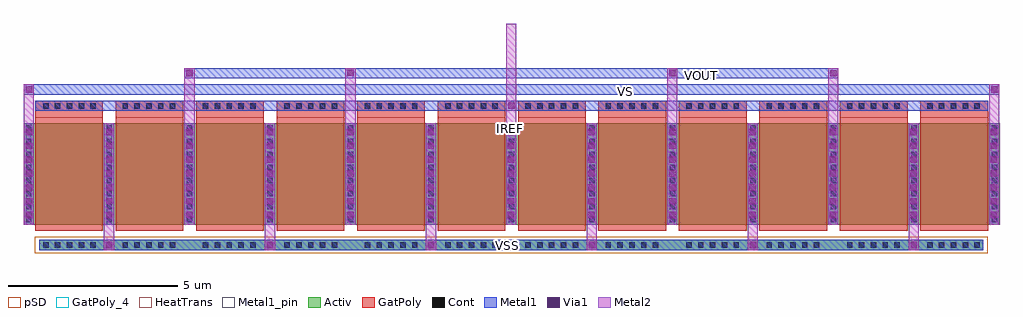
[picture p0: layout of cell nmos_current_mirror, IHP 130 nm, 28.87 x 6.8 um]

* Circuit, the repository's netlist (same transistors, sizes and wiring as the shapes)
* Extracted by KLayout with SG13G2 LVS runset on : 08/05/2024 14:23

* cell nmos_current_mirror
* pin VS
* pin VOUT
* pin IREF
* pin VSS
.SUBCKT nmos_current_mirror VS VOUT IREF VSS
* device instance $1 r0 *1 0.736,1.102 sg13_lv_nmos
M$1 VS IREF VSS VSS sg13_lv_nmos W=6.0 L=2.0
* device instance $2 r0 *1 3.116,1.102 sg13_lv_nmos
M$2 VSS IREF VOUT VSS sg13_lv_nmos W=24.0 L=2.0
* device instance $6 r0 *1 12.636,1.102 sg13_lv_nmos
M$6 VSS IREF IREF VSS sg13_lv_nmos W=6.0 L=2.0
.ENDS nmos_current_mirror

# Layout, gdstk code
from math import pi, radians
import gdstk
lib = gdstk.Library(unit=1e-6, precision=1e-09)
def R(c, l, rs):  # rectangles x0, y0, x1, y1
    for r in rs: c.add(gdstk.rectangle(r[:2], r[2:], *l))
def A(c, l, x, y, w, h, nx, ny, dx, dy):  # array of equal rectangles
    R(c, l, [(x+i*dx, y+j*dy, x+i*dx+w, y+j*dy+h) for i in range(nx) for j in range(ny)])
Activ = (1, 0)
GatPoly = (5, 0)
GatPoly_4 = (5, 4)
Cont = (6, 0)
Metal1 = (8, 0)
Metal1_pin = (8, 2)
Metal2 = (10, 0)
pSD = (14, 0)
Via1 = (19, 0)
HeatTrans = (51, 0)

via_1 = lib.new_cell('Via$1')
A(via_1, Cont, 0, 0, 0.16, 0.16, 1, 5, 0, 0.35)

via = lib.new_cell('Via')
A(via, Via1, 0, 0, 0.19, 0.19, 7, 1, 0.41, 0)

nmos_1 = lib.new_cell('nmos$1')
A(nmos_1, Activ, 0, 0, 0.3, 0.3, 13, 1, 2.38, 0)
R(nmos_1, Activ, [(0,0,28.86,3)])
A(nmos_1, GatPoly, 0.34, -0.18, 2, 3.36, 12, 1, 2.38, 0)
R(nmos_1, GatPoly_4, [(0.34,-0.18,2.34,3.18), (0.34,-0.18,2.34,3.18)])
A(nmos_1, Cont, 0.07, 0.07, 0.16, 0.16, 13, 7, 2.38, 0.385)
A(nmos_1, Cont, 0.07, 2.77, 0.16, 0.16, 13, 1, 2.38, 0)
A(nmos_1, Metal1, 0.07, 0, 0.16, 3, 13, 1, 2.38, 0)
R(nmos_1, Metal1_pin, [(0.07,0,0.23,3), (0.07,0,0.23,3), (2.45,0,2.61,3), (2.45,0,2.61,3)])
A(nmos_1, HeatTrans, 0.34, -0.18, 2, 3.36, 12, 1, 2.38, 0)
nmos_1.add(gdstk.Label('nmos', (1.34,1.5), layer=51, texttype=0))
nmos_1.add(gdstk.Label('nmos', (3.72,1.5), layer=51, texttype=0))
nmos_1.add(gdstk.Label('nmos', (6.1,1.5), layer=51, texttype=0))
nmos_1.add(gdstk.Label('nmos', (8.48,1.5), layer=51, texttype=0))
nmos_1.add(gdstk.Label('nmos', (10.86,1.5), layer=51, texttype=0))
nmos_1.add(gdstk.Label('nmos', (13.24,1.5), layer=51, texttype=0))
nmos_1.add(gdstk.Label('nmos', (15.62,1.5), layer=51, texttype=0))
nmos_1.add(gdstk.Label('nmos', (18,1.5), layer=51, texttype=0))
nmos_1.add(gdstk.Label('nmos', (20.38,1.5), layer=51, texttype=0))
nmos_1.add(gdstk.Label('nmos', (22.76,1.5), layer=51, texttype=0))
nmos_1.add(gdstk.Label('nmos', (25.14,1.5), layer=51, texttype=0))
nmos_1.add(gdstk.Label('nmos', (27.52,1.5), layer=51, texttype=0))

nmos_current_mirror = lib.new_cell('nmos_current_mirror')
R(nmos_current_mirror, Activ, [(-0.135,-1.155,27.785,-0.855)])
A(nmos_current_mirror, GatPoly, -0.26, 2.78, 2, 0.48, 12, 1, 2.38, 0)
A(nmos_current_mirror, Metal1, -0.605, -0.4, 0.3, 3, 13, 1, 2.38, 0)
R(nmos_current_mirror, Metal1, [(-0.135,-1.155,27.785,-0.855), (-0.26,2.96,27.92,3.26), (-0.6,3.445,28.255,3.745), (4.155,3.93,23.495,4.23)])
A(nmos_current_mirror, Metal2, 1.775, -1.155, 0.3, 3.755, 6, 1, 4.76, 0)
R(nmos_current_mirror, Metal2, [(-0.6,-0.4,-0.3,3.745), (4.155,-0.4,4.455,4.23), (8.915,-0.4,9.215,4.23), (13.675,-0.4,13.975,5.545), (18.435,-0.4,18.735,4.23), (23.195,-0.4,23.495,4.23), (27.955,-0.4,28.255,3.745)])
R(nmos_current_mirror, pSD, [(-0.265,-1.255,27.915,-0.76)])
R(nmos_current_mirror, Via1, [(1.825,-1.105,2.015,-0.915), (6.585,-1.105,6.775,-0.915), (11.355,-1.105,11.545,-0.915), (20.87,-1.105,21.06,-0.915), (25.63,-1.105,25.82,-0.915), (25.63,-1.105,25.82,-0.915), (16.11,-1.1,16.3,-0.91), (13.73,3.03,13.92,3.22), (-0.54,3.495,-0.35,3.685), (28.015,3.505,28.205,3.695), (23.255,3.98,23.445,4.17), (4.215,3.985,4.405,4.175), (18.5,3.99,18.69,4.18), (8.97,3.995,9.16,4.185)])
nmos_current_mirror.add(gdstk.Reference(via_1, (-0.025,3.185), rotation=3*pi/2))
nmos_current_mirror.add(gdstk.Reference(via_1, (2.325,3.185), rotation=3*pi/2))
nmos_current_mirror.add(gdstk.Reference(via_1, (4.7,3.185), rotation=3*pi/2))
nmos_current_mirror.add(gdstk.Reference(via_1, (7.11,3.185), rotation=3*pi/2))
nmos_current_mirror.add(gdstk.Reference(via_1, (9.485,3.185), rotation=3*pi/2))
nmos_current_mirror.add(gdstk.Reference(via_1, (11.865,3.185), rotation=3*pi/2))
nmos_current_mirror.add(gdstk.Reference(via_1, (14.235,3.185), rotation=3*pi/2))
nmos_current_mirror.add(gdstk.Reference(via_1, (18.995,3.185), rotation=3*pi/2))
nmos_current_mirror.add(gdstk.Reference(via_1, (21.37,3.185), rotation=3*pi/2))
nmos_current_mirror.add(gdstk.Reference(via_1, (23.75,3.185), rotation=3*pi/2))
nmos_current_mirror.add(gdstk.Reference(via_1, (26.12,3.185), rotation=3*pi/2))
nmos_current_mirror.add(gdstk.Reference(via_1, (-0.025,-0.925), rotation=3*pi/2))
nmos_current_mirror.add(gdstk.Reference(via_1, (2.325,-0.925), rotation=3*pi/2))
nmos_current_mirror.add(gdstk.Reference(via_1, (4.7,-0.925), rotation=3*pi/2))
nmos_current_mirror.add(gdstk.Reference(via_1, (7.11,-0.925), rotation=3*pi/2))
nmos_current_mirror.add(gdstk.Reference(via_1, (9.485,-0.925), rotation=3*pi/2))
nmos_current_mirror.add(gdstk.Reference(via_1, (11.865,-0.925), rotation=3*pi/2))
nmos_current_mirror.add(gdstk.Reference(via_1, (14.235,-0.925), rotation=3*pi/2))
nmos_current_mirror.add(gdstk.Reference(via_1, (18.995,-0.925), rotation=3*pi/2))
nmos_current_mirror.add(gdstk.Reference(via_1, (21.37,-0.925), rotation=3*pi/2))
nmos_current_mirror.add(gdstk.Reference(via_1, (23.75,-0.925), rotation=3*pi/2))
nmos_current_mirror.add(gdstk.Reference(via_1, (26.12,-0.925), rotation=3*pi/2))
nmos_current_mirror.add(gdstk.Reference(via_1, (16.61,3.185), rotation=3*pi/2))
nmos_current_mirror.add(gdstk.Reference(via_1, (16.61,-0.925), rotation=3*pi/2))
nmos_current_mirror.add(gdstk.Reference(via, (1.835,2.435), rotation=3*pi/2))
nmos_current_mirror.add(gdstk.Reference(via, (4.21,2.435), rotation=3*pi/2))
nmos_current_mirror.add(gdstk.Reference(via, (6.585,2.435), rotation=3*pi/2))
nmos_current_mirror.add(gdstk.Reference(via, (8.97,2.435), rotation=3*pi/2))
nmos_current_mirror.add(gdstk.Reference(via, (11.345,2.435), rotation=3*pi/2))
nmos_current_mirror.add(gdstk.Reference(via, (13.72,2.435), rotation=3*pi/2))
nmos_current_mirror.add(gdstk.Reference(via, (16.095,2.435), rotation=3*pi/2))
nmos_current_mirror.add(gdstk.Reference(via, (18.49,2.435), rotation=3*pi/2))
nmos_current_mirror.add(gdstk.Reference(via, (20.865,2.435), rotation=3*pi/2))
nmos_current_mirror.add(gdstk.Reference(via, (23.24,2.435), rotation=3*pi/2))
nmos_current_mirror.add(gdstk.Reference(via, (25.625,2.435), rotation=3*pi/2))
nmos_current_mirror.add(gdstk.Reference(via, (28,2.435), rotation=3*pi/2))
nmos_current_mirror.add(gdstk.Reference(via, (-0.54,2.435), rotation=3*pi/2))
nmos_current_mirror.add(gdstk.Reference(nmos_1, (-0.6,-0.4)))
nmos_current_mirror.add(gdstk.Label('VSS', (13.697,-1.031), layer=8, texttype=1))
nmos_current_mirror.add(gdstk.Label('VOUT', (19.446,4.022), layer=8, texttype=1))
nmos_current_mirror.add(gdstk.Label('VS', (17.185,3.523), layer=8, texttype=1))
nmos_current_mirror.add(gdstk.Label('IREF', (13.805,2.45), layer=8, texttype=1))

lib.write_gds('nmos_current_mirror.gds')
